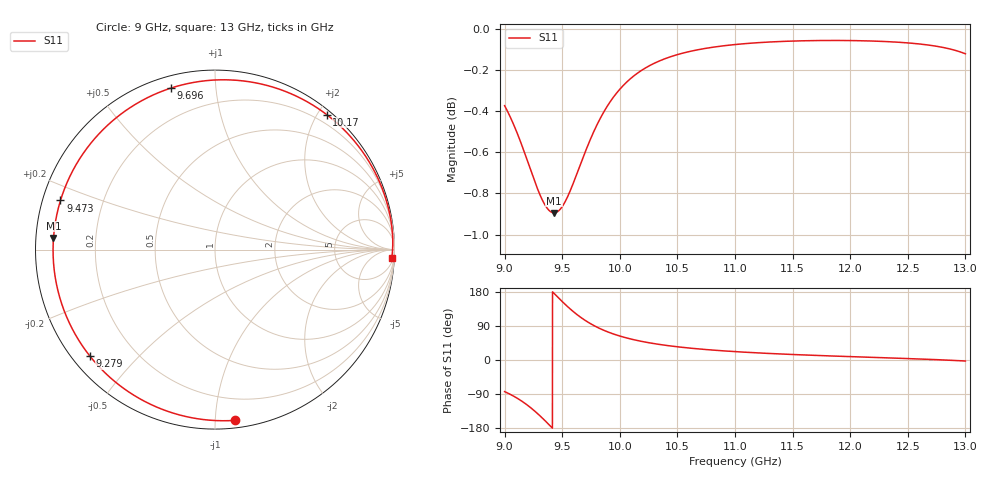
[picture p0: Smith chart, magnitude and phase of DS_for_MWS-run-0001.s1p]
! TOUCHSTONE file generated by CST DESIGN STUDIO
! Date and time: Tue Feb  4 17:14:48 2025
! Project name: C:\Work\MatlabApps\UnitCellOptimizationMatlab\CST\unitcell.cst
! Tree item: Tasks\Sweep1\SPara1\S-Parameters
! Header version: 2024
! Port assignment regex: !\s*Touchstone port\s*([0-9]+)\s*=\s*(CST MWS port|CST DES external port|CST DES block port)\s*(.+)\s* \(\"(.*)\"\)(\s*mode\s*([0-9]+))?.*
! Touchstone port assignment:
! Touchstone port 1 = CST DES external port 1 ("")
# GHz S MA R 50
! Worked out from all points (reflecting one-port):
!   4001 points, 9 GHz to 13 GHz, reference 50 ohm
!   lowest |S11| = -0.9 dB at 9.429 GHz (marker M1), VSWR 19.43, Z = 2.58 + j1.79 ohm
!   phase of S11 starts at -83 deg and turns -279 deg over the sweep
!   S11 on the Smith chart (normalised r, x): 9 GHz: 0.05, -1.12; 9.279 GHz: 0.05, -0.37; 9.473 GHz: 0.05, +0.15; 9.696 GHz: 0.06, +0.76; 10.17 GHz: 0.07, +2.12; 13 GHz: 12, -39
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9  0.9579 -83.4
9.084  0.947 -96.4
9.154  0.9362 -109.6
9.218  0.9254 -123.9
9.279  0.9154 -139.5
9.321  0.9094 -151.3
9.358  0.9054 -162.3
9.394  0.9029 -173.3
9.429  0.9021 175.9
9.473  0.9034 162.4
9.5  0.9053 154.3
9.549  0.9106 140.2
9.597  0.9174 127.5
9.645  0.9248 116.0
9.696  0.9328 105.2
9.764  0.9427 92.7
9.845  0.9528 80.5
9.92  0.9603 71.3
10  0.9667 63.2
10.169  0.9762 50.4
10.32  0.9815 42.2
10.5  0.9857 34.9
10.723  0.9889 28.2
11  0.9912 22.1
11.5  0.9932 14.5
12  0.9934 8.9
12.5  0.9921 3.8
13  0.9861 -2.7
